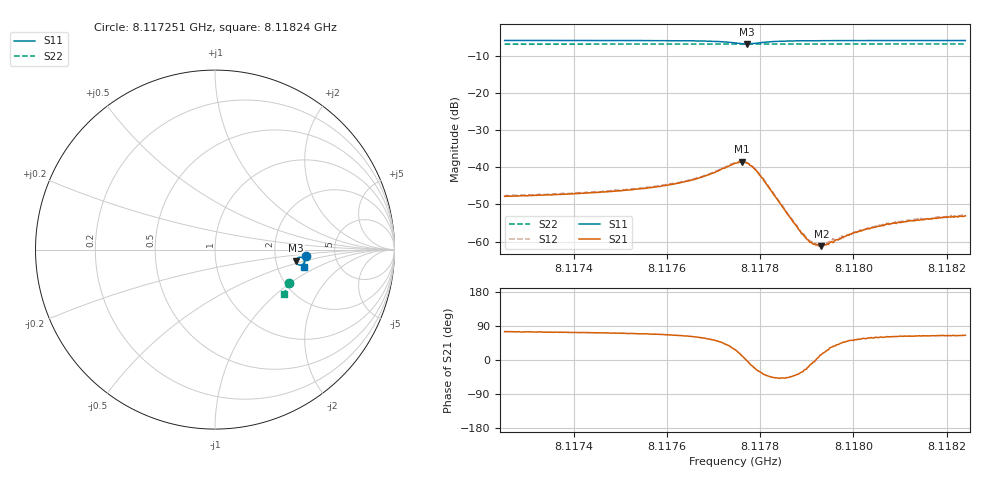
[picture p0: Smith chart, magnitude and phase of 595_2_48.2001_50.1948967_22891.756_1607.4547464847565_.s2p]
#  HZ  S  RI  R  50.00
! Rohde & Schwarz Vector Network Analyzer
! Rohde-Schwarz,ZNB20-2Port,1311601062101988,3.16
! Created: UTC 3/20/2024, 12:02:46 PM
! freq[Hz]  re:S11  im:S11  re:S21  im:S21  re:S12  im:S12  re:S22  im:S22
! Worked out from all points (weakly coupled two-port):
!   401 points, 8.117251 GHz to 8.11824 GHz, reference 50 ohm
!   highest |S21| = -38.53 dB at 8.117761 GHz (marker M1); lowest = -61.2 dB at 8.117931 GHz (marker M2)
!   lowest |S11| = -6.8 dB at 8.117771 GHz (marker M3), VSWR 2.68, Z = 130 - j20.4 ohm
!   |S11| at or under -10 dB: nowhere
!   |S22| runs from -6.9 to -6.8 dB; largest |S21 - S12| = 0.00046
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8.1172515e9  0.5053 -0.0348  0.00106 0.00394  0.00109 0.00402  0.4124 -0.1851
8.1174171e9  0.5038 -0.0488  0.00134 0.00426  0.00138 0.00434  0.4082 -0.1959
8.1175357e9  0.5015 -0.0603  0.00178 0.00477  0.00186 0.00483  0.4046 -0.2034
8.1175827e9  0.4998 -0.0655  0.0021 0.0051  0.00221 0.00526  0.4032 -0.2065
8.1176223e9  0.4978 -0.0707  0.00257 0.00552  0.00267 0.00559  0.4019 -0.2091
8.1176717e9  0.4925 -0.0786  0.00373 0.00625  0.00386 0.00636  0.4002 -0.2124
8.1177459e9  0.4621 -0.0834  0.01 0.00516  0.0102 0.00519  0.3964 -0.2167
8.1177607e9  0.4532 -0.0725  0.0116 0.00221  0.0118 0.00231  0.3959 -0.2169
8.1177706e9  0.4518 -0.062  0.0113 -0.000227  0.0117 -0.00018  0.3958 -0.2171
8.1177829e9  0.4572 -0.0497  0.00982 -0.00275  0.01 -0.00281  0.3957 -0.2173
8.1177953e9  0.4673 -0.043  0.00745 -0.00396  0.0075 -0.00417  0.3958 -0.2179
8.1178843e9  0.4974 -0.0597  0.00116 -0.000822  0.00119 -0.000856  0.3944 -0.2242
8.1179016e9  0.4982 -0.0631  0.00101 -0.000363  0.00103 -0.000375  0.3939 -0.2255
8.1179115e9  0.4985 -0.0647  0.000939 -0.000141  0.000965 -0.000181  0.3935 -0.2261
8.1179238e9  0.499 -0.0667  0.000889 9.18e-05  0.000881 6.21e-05  0.3929 -0.2268
8.1179312e9  0.4991 -0.0677  0.000844 0.000209  0.000914 0.000223  0.3929 -0.2275
8.1179436e9  0.4991 -0.0696  0.000841 0.000403  0.000871 0.000425  0.3924 -0.2282
8.1180029e9  0.4991 -0.0768  0.000791 0.00107  0.000805 0.00106  0.3905 -0.2319
8.1180499e9  0.4988 -0.0817  0.000807 0.00137  0.000857 0.00138  0.3889 -0.2349
8.1180771e9  0.4986 -0.0843  0.000836 0.00153  0.000839 0.00147  0.3879 -0.2366
8.1181339e9  0.4977 -0.0896  0.000854 0.00175  0.000905 0.00177  0.3859 -0.2401
8.1182402e9  0.496 -0.0986  0.00094 0.00202  0.000968 0.00201  0.3823 -0.2467
